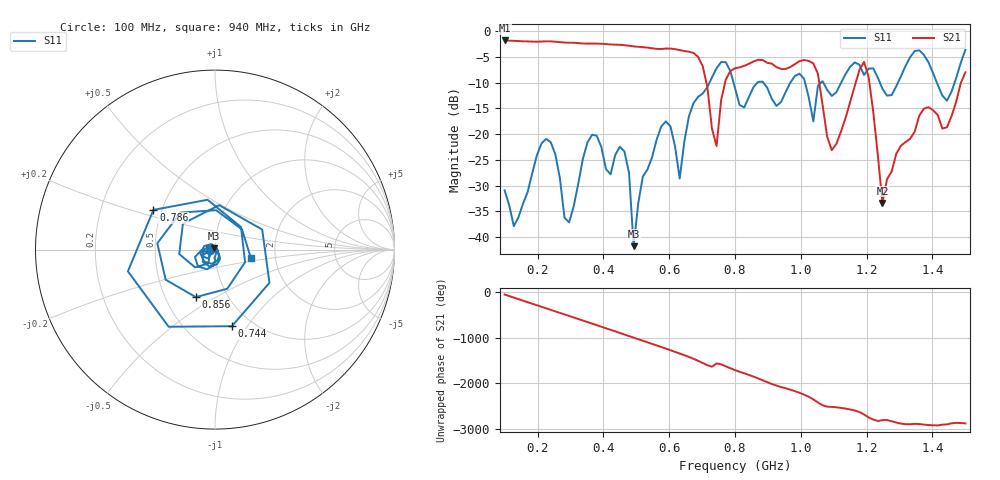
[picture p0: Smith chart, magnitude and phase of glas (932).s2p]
! NanoVNA-App
! Date: 2025-09-25 16:02:43
! Start: 100MHz Stop: 1,5GHz Points: 101
! S-Parameter data: F S11 S21 S12 S22
# Hz S RI R 50
!  Frequency  S11_Real  S11_Imag  S21_Real  S21_Imag  S12_Real  S12_Imag  S22_Real  S22_Imag
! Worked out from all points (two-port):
!   101 points, 100 MHz to 1.5 GHz, reference 50 ohm
!   highest |S21| = -1.80 dB at 100 MHz (marker M1); lowest = -33.3 dB at 1.248 GHz (marker M2)
!   |S21| within 3 dB of the highest: start of sweep to 684.5 MHz
!   lowest |S11| = -41.8 dB at 492 MHz (marker M3), VSWR 1.02, Z = 49.5 + j0.636 ohm
!   |S11| at or under -10 dB: start of sweep to 722.5 MHz; 795.5 MHz to 867.9 MHz (72.32 MHz wide, 8.7 % of centre); 886.3 MHz to 968.1 MHz (81.84 MHz wide, 8.83 % of centre) (the widest 3 of 7)
!   S12 and S22 are empty: the file has one direction only
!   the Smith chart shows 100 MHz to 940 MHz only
!   S11 on the Smith chart (normalised r, x): 100 MHz: 0.94, -0.01; 744 MHz: 0.81, -0.85; 786 MHz: 0.45, +0.24; 856 MHz: 0.71, -0.41; 940 MHz: 1.49, -0.15
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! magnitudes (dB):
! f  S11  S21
! 100 MHz  -30.9  -1.8
! 128 MHz  -37.9  -1.9
! 226 MHz  -20.9  -2.0
! 296 MHz  -37.1  -2.2
! 338 MHz  -24.7  -2.4
! 464 MHz  -23.4  -2.7
! 492 MHz  -41.8  -2.9
! 576 MHz  -18.5  -3.5
! 632 MHz  -28.6  -3.7
! 702 MHz  -12.1  -6.8
! 744 MHz  -7.2  -22.3
! 786 MHz  -7.8  -7.7
! 800 MHz  -11.0  -7.2
! 856 MHz  -10.9  -5.9
! 940 MHz  -13.7  -7.3
! 1.038 GHz  -17.5  -6.3
! 1.094 GHz  -12.6  -23.1
! 1.192 GHz  -8.5  -6.0
! 1.248 GHz  -11.2  -33.3
! 1.276 GHz  -12.4  -27.2
! 1.444 GHz  -13.5  -18.7
! 1.5 GHz  -3.6  -8.0
